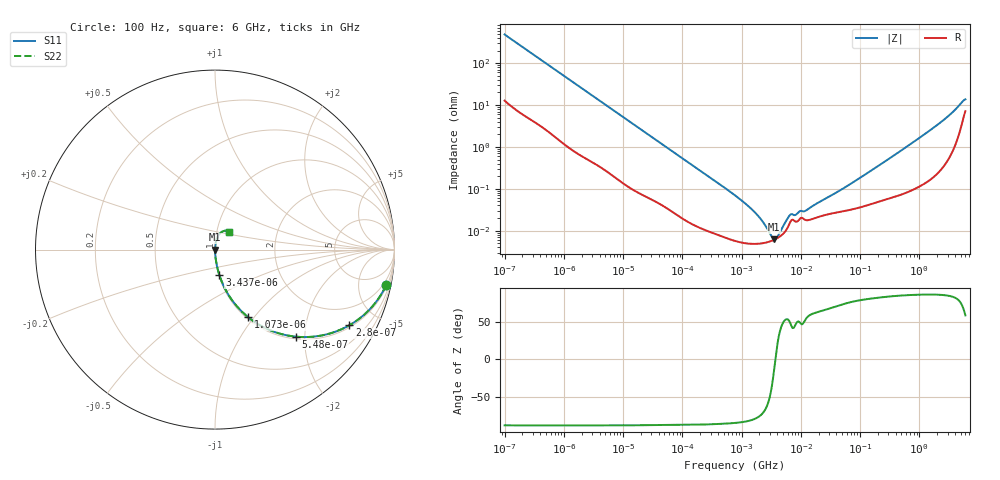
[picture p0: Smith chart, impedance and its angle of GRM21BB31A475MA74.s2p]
!Murata Part Number: GRM21BB31A475MA74
!These Parameters are Measured in Series Mode Connection
!Data Generated on Mar 30, 2021
!  o--ll--o
!Port1  Port2
!  o------o
!Operation Temp=25[degC], DC Bias Voltage=0[V]
!Freq. Start=100[Hz] Stop=6[GHz] 401[Steps]
# Hz S RI R 50
!Freq.(Hz) S11(Real) S11(Imag) S21(Real) S21(Imag) S12(Real) S12(Imag) S22(Real) S22(Imag)
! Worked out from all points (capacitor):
!   401 points, 100 Hz to 6 GHz, reference 50 ohm
!   read as one part in series: C = 3.28 uF near 109 Hz
!   lowest |Z| = 6.23 mohm at 3.55 MHz (marker M1)
!   series resonance near 3.722 MHz, so ESL is about 560 pH
!   S11 on the Smith chart (normalised r, x): 100 Hz: 1.25, -9.66; 280 Hz: 1.09, -3.50; 548 Hz: 1.05, -1.81; 1.073 kHz: 1.02, -0.93; 3.437 kHz: 1.01, -0.30; 6 GHz: 1.14, +0.23
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100  0.9542 -0.1963  0.0458 0.1963  0.0458 0.1963  0.9542 -0.1963
164  0.8924 -0.2979  0.1076 0.2979  0.1076 0.2979  0.8924 -0.2979
280  0.7481 -0.4217  0.2519 0.4217  0.2519 0.4217  0.7481 -0.4217
548  0.4509 -0.485  0.5491 0.485  0.5491 0.485  0.4509 -0.485
1073  0.1843 -0.3763  0.8157 0.3763  0.8157 0.3763  0.1843 -0.3763
2008  0.0642 -0.2335  0.9358 0.2335  0.9358 0.2335  0.0642 -0.2335
3437  0.025 -0.1437  0.975 0.1437  0.975 0.1437  0.025 -0.1437
9626  0.00427 -0.0535  0.9957 0.0535  0.9957 0.0535  0.00427 -0.0535
40335  0.000618 -0.0131  0.9994 0.0131  0.9994 0.0131  0.000618 -0.0131
774597  5.73e-05 -0.000695  0.9999 0.000695  0.9999 0.000695  5.73e-05 -0.000695
1658239  4.83e-05 -0.000274  1 0.000274  1 0.000274  4.83e-05 -0.000274
2837864  5.38e-05 -8.4e-05  0.9999 8.4e-05  0.9999 8.4e-05  5.38e-05 -8.4e-05
3549919  6.06e-05 -1.46e-05  0.9999 1.46e-05  0.9999 1.46e-05  6.06e-05 -1.46e-05
4643984  7.62e-05 6.96e-05  0.9999 -6.96e-05  0.9999 -6.96e-05  7.62e-05 6.96e-05
6644369  0.000161 0.000179  0.9998 -0.000179  0.9998 -0.000179  0.000161 0.000179
1.189169e7  0.00018 0.000235  0.9998 -0.000235  0.9998 -0.000235  0.00018 0.000235
1.555665e7  0.000189 0.000332  0.9998 -0.000332  0.9998 -0.000332  0.000189 0.000332
5.699437e7  0.000299 0.00106  0.9997 -0.00106  0.9997 -0.00106  0.000299 0.00106
3.124326e8  0.000612 0.00524  0.9994 -0.00524  0.9994 -0.00524  0.000612 0.00524
2.048624e9  0.00349 0.0339  0.9965 -0.0339  0.9965 -0.0339  0.00349 0.0339
4.193612e9  0.0187 0.0784  0.9813 -0.0784  0.9813 -0.0784  0.0187 0.0784
6e9  0.0775 0.1  0.9225 -0.1  0.9225 -0.1  0.0775 0.1
